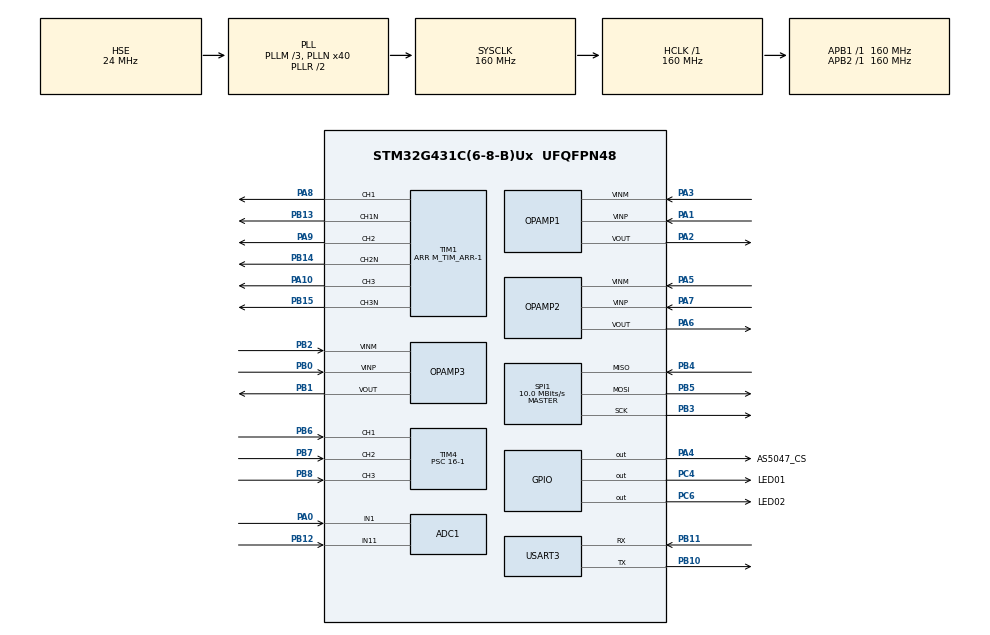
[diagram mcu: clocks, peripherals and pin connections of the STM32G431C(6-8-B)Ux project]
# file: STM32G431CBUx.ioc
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ADC1.Channel-0\#ChannelRegularConversion=ADC_CHANNEL_1
ADC1.ClockPrescaler=ADC_CLOCK_ASYNC_DIV4
ADC1.ContinuousConvMode=ENABLE
ADC1.EnableInjectedConversion=ENABLE
ADC1.ExternalTrigInjecConv=ADC_EXTERNALTRIGINJEC_T1_CC4
ADC1.InjNumberOfConversion=2
ADC1.InjectedChannel-1\#ChannelInjectedConversion=ADC_CHANNEL_3
ADC1.InjectedChannel-2\#ChannelInjectedConversion=ADC_CHANNEL_12
ADC1.InjectedOffsetNumber-1\#ChannelInjectedConversion=ADC_OFFSET_NONE
ADC1.InjectedOffsetNumber-2\#ChannelInjectedConversion=ADC_OFFSET_NONE
ADC1.InjectedRank-1\#ChannelInjectedConversion=1
ADC1.InjectedRank-2\#ChannelInjectedConversion=2
ADC1.InjectedSamplingTime-1\#ChannelInjectedConversion=ADC_SAMPLETIME_2CYCLES_5
ADC1.InjectedSamplingTime-2\#ChannelInjectedConversion=ADC_SAMPLETIME_2CYCLES_5
ADC1.Mode=ADC_DUALMODE_INJECSIMULT
ADC1.NbrOfConversionFlag=1
ADC1.OffsetNumber-0\#ChannelRegularConversion=ADC_OFFSET_NONE
ADC1.Overrun=ADC_OVR_DATA_OVERWRITTEN
ADC1.Rank-0\#ChannelRegularConversion=1
ADC1.SamplingTime-0\#ChannelRegularConversion=ADC_SAMPLETIME_2CYCLES_5
ADC1.master=1
ADC2.Channel-0\#ChannelRegularConversion=ADC_CHANNEL_3
ADC2.ClockPrescaler=ADC_CLOCK_ASYNC_DIV4
ADC2.EnableInjectedConversion=ENABLE
ADC2.InjNumberOfConversion=1
ADC2.InjectedChannel-1\#ChannelInjectedConversion=ADC_CHANNEL_3
ADC2.InjectedOffsetNumber-1\#ChannelInjectedConversion=ADC_OFFSET_NONE
ADC2.InjectedRank-1\#ChannelInjectedConversion=1
ADC2.InjectedSamplingTime-1\#ChannelInjectedConversion=ADC_SAMPLETIME_2CYCLES_5
ADC2.Mode=ADC_DUALMODE_INJECSIMULT
ADC2.NbrOfConversionFlag=1
ADC2.OffsetNumber-0\#ChannelRegularConversion=ADC_OFFSET_NONE
ADC2.Rank-0\#ChannelRegularConversion=1
ADC2.Rank1_Channel=ADC_CHANNEL_3
ADC2.SamplingTime-0\#ChannelRegularConversion=ADC_SAMPLETIME_2CYCLES_5
Dma.Request0=USART3_RX
Dma.USART3_RX.0.Direction=DMA_PERIPH_TO_MEMORY
Dma.USART3_RX.0.EventEnable=DISABLE
Dma.USART3_RX.0.Instance=DMA1_Channel1
Dma.USART3_RX.0.MemDataAlignment=DMA_MDATAALIGN_BYTE
Dma.USART3_RX.0.MemInc=DMA_MINC_ENABLE
Dma.USART3_RX.0.Mode=DMA_NORMAL
Dma.USART3_RX.0.PeriphDataAlignment=DMA_PDATAALIGN_BYTE
Dma.USART3_RX.0.PeriphInc=DMA_PINC_DISABLE
Dma.USART3_RX.0.Polarity=HAL_DMAMUX_REQ_GEN_RISING
Dma.USART3_RX.0.Priority=DMA_PRIORITY_LOW
Dma.USART3_RX.0.RequestNumber=1
Dma.USART3_RX.0.SignalID=NONE
Dma.USART3_RX.0.SyncEnable=DISABLE
Dma.USART3_RX.0.SyncPolarity=HAL_DMAMUX_SYNC_NO_EVENT
Dma.USART3_RX.0.SyncRequestNumber=1
Dma.USART3_RX.0.SyncSignalID=NONE
Mcu.Family=STM32G4
Mcu.Name=STM32G431C(6-8-B)Ux
Mcu.Package=UFQFPN48
Mcu.UserConstants=M_TIM_ARR,8000
NVIC.ADC1_2_IRQn=true\:0\:0\:false\:false\:true\:true\:true\:true
NVIC.PriorityGroup=NVIC_PRIORITYGROUP_4
NVIC.TIM4_IRQn=true\:1\:0\:true\:false\:true\:true\:true\:true
NVIC.USART3_IRQn=true\:3\:0\:true\:false\:true\:false\:true\:true
PA0.Mode=IN1-Single-Ended
PA0.Signal=ADC1_IN1
PA1.Mode=Standalone
PA1.Signal=OPAMP1_VINP
PA10.Signal=S_TIM1_CH3
PA13.Mode=Serial_Wire
PA13.Signal=SYS_JTMS-SWDIO
PA14.Mode=Serial_Wire
PA14.Signal=SYS_JTCK-SWCLK
PA2.Signal=SharedAnalog_PA2
PA3.Mode=Standalone
PA3.Signal=OPAMP1_VINM
PA4.GPIO_Label=AS5047_CS
PA4.Signal=GPIO_Output
PA5.Mode=Standalone
PA5.Signal=OPAMP2_VINM
PA6.Signal=SharedAnalog_PA6
PA7.Mode=Standalone
PA7.Signal=OPAMP2_VINP
PA8.Signal=S_TIM1_CH1
PA9.Signal=S_TIM1_CH2
PB0.Mode=Standalone
PB0.Signal=OPAMP3_VINP
PB1.Signal=SharedAnalog_PB1
PB10.Mode=Asynchronous
PB10.Signal=USART3_TX
PB11.Mode=Asynchronous
PB11.Signal=USART3_RX
PB12.Mode=IN11-Single-Ended
PB12.Signal=ADC1_IN11
PB13.Mode=PWM Generation1 CH1 CH1N
PB13.Signal=TIM1_CH1N
PB14.Mode=PWM Generation2 CH2 CH2N
PB14.Signal=TIM1_CH2N
PB15.Mode=PWM Generation3 CH3 CH3N
PB15.Signal=TIM1_CH3N
PB2.Mode=Standalone
PB2.Signal=OPAMP3_VINM
PB3.Mode=Full_Duplex_Master
PB3.Signal=SPI1_SCK
PB4.Mode=Full_Duplex_Master
PB4.Signal=SPI1_MISO
PB5.Mode=Full_Duplex_Master
PB5.Signal=SPI1_MOSI
PB6.Signal=S_TIM4_CH1
PB7.Signal=S_TIM4_CH2
PB8-BOOT0.Signal=S_TIM4_CH3
PC4.GPIO_Label=LED01
PC4.Signal=GPIO_Output
PC6.GPIO_Label=LED02
PC6.Signal=GPIO_Output
PF0-OSC_IN.Mode=HSE-External-Oscillator
PF0-OSC_IN.Signal=RCC_OSC_IN
PF1-OSC_OUT.Mode=HSE-External-Oscillator
PF1-OSC_OUT.Signal=RCC_OSC_OUT
ProjectManager.HeapSize=0x200
ProjectManager.StackSize=0x400
ProjectManager.TargetToolchain=CMake
RCC.ADC12CLockSelection=RCC_ADC12CLKSOURCE_PLL
RCC.ADC12Freq_Value=160000000
RCC.AHBFreq_Value=160000000
RCC.APB1Freq_Value=160000000
RCC.APB1TimFreq_Value=160000000
RCC.APB2Freq_Value=160000000
RCC.APB2TimFreq_Value=160000000
RCC.CK48CLockSelection=RCC_USBCLKSOURCE_HSI48
RCC.CortexFreq_Value=160000000
RCC.EXTERNAL_CLOCK_VALUE=12288000
RCC.HCLKFreq_Value=160000000
RCC.HSE_VALUE=24000000
RCC.HSI48_VALUE=48000000
RCC.HSI_VALUE=16000000
RCC.LSE_VALUE=32768
RCC.PLLM=RCC_PLLM_DIV3
RCC.PLLN=40
RCC.PLLSourceVirtual=RCC_PLLSOURCE_HSE
RCC.SYSCLKFreq_VALUE=160000000
RCC.SYSCLKSource=RCC_SYSCLKSOURCE_PLLCLK
RCC.USBFreq_Value=48000000
RCC.VCOOutputFreq_Value=320000000
SH.S_TIM1_CH1.0=TIM1_CH1,PWM Generation1 CH1 CH1N
SH.S_TIM1_CH2.0=TIM1_CH2,PWM Generation2 CH2 CH2N
SH.S_TIM1_CH3.0=TIM1_CH3,PWM Generation3 CH3 CH3N
SH.S_TIM4_CH1.0=TIM4_CH1,Xored_Inputs_Hall_Sensor_Interface
SH.S_TIM4_CH2.0=TIM4_CH2,Xored_Inputs_Hall_Sensor_Interface
SH.S_TIM4_CH3.0=TIM4_CH3,Xored_Inputs_Hall_Sensor_Interface
SH.SharedAnalog_PA2.0=OPAMP1_VOUT,Standalone
SH.SharedAnalog_PA2.1=ADC1_IN3,IN3-Single-Ended
SH.SharedAnalog_PA6.0=OPAMP2_VOUT,Standalone
SH.SharedAnalog_PA6.1=ADC2_IN3,IN3-Single-Ended
SH.SharedAnalog_PB1.0=OPAMP3_VOUT,Standalone
SH.SharedAnalog_PB1.1=ADC1_IN12,IN12-Single-Ended
SPI1.BaudRatePrescaler=SPI_BAUDRATEPRESCALER_16
SPI1.CLKPhase=SPI_PHASE_2EDGE
SPI1.CalculateBaudRate=10.0 MBits/s
SPI1.DataSize=SPI_DATASIZE_16BIT
SPI1.Direction=SPI_DIRECTION_2LINES
SPI1.Mode=SPI_MODE_MASTER
SPI1.VirtualType=VM_MASTER
STMicroelectronics.X-CUBE-ALGOBUILD.1.4.0.LibraryCcDSPOoLibraryJjDSPOoLibrary=true
TIM1.Channel-PWM\ Generation1\ CH1\ CH1N=TIM_CHANNEL_1
TIM1.Channel-PWM\ Generation2\ CH2\ CH2N=TIM_CHANNEL_2
TIM1.Channel-PWM\ Generation3\ CH3\ CH3N=TIM_CHANNEL_3
TIM1.Channel-PWM\ Generation4\ No\ Output=TIM_CHANNEL_4
TIM1.ClockDivision=TIM_CLOCKDIVISION_DIV2
TIM1.CounterMode=TIM_COUNTERMODE_CENTERALIGNED3
TIM1.DeadTime=0
TIM1.OCMode_PWM-PWM\ Generation1\ CH1\ CH1N=TIM_OCMODE_PWM2
TIM1.OCMode_PWM-PWM\ Generation2\ CH2\ CH2N=TIM_OCMODE_PWM2
TIM1.OCMode_PWM-PWM\ Generation3\ CH3\ CH3N=TIM_OCMODE_PWM2
TIM1.OCMode_PWM-PWM\ Generation4\ No\ Output=TIM_OCMODE_PWM2
TIM1.PeriodNoDither=M_TIM_ARR-1
TIM1.PulseNoDither_1=M_TIM_ARR/2
TIM1.PulseNoDither_2=M_TIM_ARR/2
TIM1.PulseNoDither_3=M_TIM_ARR/2
TIM1.PulseNoDither_4=M_TIM_ARR-2
TIM1.RepetitionCounter=1
TIM1.TIM_MasterOutputTrigger=TIM_TRGO_OC4REF
TIM4.Commutation_Delay=5
TIM4.IC1Filter=10
TIM4.Prescaler=16-1
USART3.VirtualMode-Asynchronous=VM_ASYNC
VP_RNG_VS_RNG.Mode=RNG_Activate
VP_STMicroelectronics.X-CUBE-ALGOBUILD_VS_DSPOoLibraryJjLibrary_1.4.0_1.4.0.Mode=DSPOoLibraryJjLibrary
VP_SYS_VS_DBSignals.Mode=DisableDeadBatterySignals
VP_TIM1_VS_ClockSourceINT.Mode=Internal
VP_TIM1_VS_no_output4.Mode=PWM Generation4 No Output
VP_TIM4_VS_ClockSourceINT.Mode=Internal
board=custom

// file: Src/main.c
/* USER CODE BEGIN Header */
/**
 ******************************************************************************
 * @file           : main.c
 * @brief          : Main program body
 ******************************************************************************
 * @attention
 *
 * Copyright (c) 2024 STMicroelectronics.
 * All rights reserved.
 *
 * This software is licensed under terms that can be found in the LICENSE file
 * in the root directory of this software component.
 * If no LICENSE file comes with this software, it is provided AS-IS.
 *
 ******************************************************************************
 */
/* USER CODE END Header */
#include "main.h"
#include "adc.h"
#include "dma.h"
#include "opamp.h"
#include "rng.h"
#include "spi.h"
#include "tim.h"
#include "usart.h"
#include "gpio.h"

/* USER CODE BEGIN PTD */
#include "device.h"
#include "stdio.h"
extern struct device motor1;
extern void motor_init(struct device *motor);
extern void motor_task(struct device *motor);

/* USER CODE END PTD */

/* USER CODE BEGIN PV */
void SystemClock_Config(void);
/* USER CODE END PV */

void SystemClock_Config(void);

/* USER CODE BEGIN 0 */

int main(void)
{
	HAL_Init();
	SystemClock_Config();

	/* Initialize all configured peripherals */
	MX_GPIO_Init();
	MX_DMA_Init();

	MX_USART3_UART_Init();
	MX_TIM4_Init();
	MX_ADC1_Init();
	MX_ADC2_Init();
	MX_OPAMP1_Init();
	MX_OPAMP2_Init();
	MX_OPAMP3_Init();
	MX_TIM1_Init();
	MX_RNG_Init();
	MX_SPI1_Init();
	/* USER CODE BEGIN 2 */

	motor_init(&motor1);
	tim_pwm_enable();
	adc_start();
	opamp_start();
	HAL_Delay(1000);
	printf("hello world\r\n");
	/* USER CODE END 2 */

	/* Infinite loop */
	/* USER CODE BEGIN WHILE */
	while (1) {
		motor_task(&motor1);
		// motor_debug_info(&motor1);
		static int cout;
		if (cout++ > 1000) {
			cout = 0;
			// printf("hell\r\n");
		}
		HAL_Delay(1);

		/* USER CODE END WHILE */

		/* USER CODE BEGIN 3 */
	}
	/* USER CODE END 3 */
}

/* USER CODE END 0 */

void SystemClock_Config(void)
{
  RCC_OscInitTypeDef RCC_OscInitStruct = {0};
  RCC_ClkInitTypeDef RCC_ClkInitStruct = {0};

  /** Configure the main internal regulator output voltage
  */
  HAL_PWREx_ControlVoltageScaling(PWR_REGULATOR_VOLTAGE_SCALE1_BOOST);

  /** Initializes the RCC Oscillators according to the specified parameters
  * in the RCC_OscInitTypeDef structure.
  */
  RCC_OscInitStruct.OscillatorType = RCC_OSCILLATORTYPE_HSI48|RCC_OSCILLATORTYPE_HSE;
  RCC_OscInitStruct.HSEState = RCC_HSE_ON;
  RCC_OscInitStruct.HSI48State = RCC_HSI48_ON;
  RCC_OscInitStruct.PLL.PLLState = RCC_PLL_ON;
  RCC_OscInitStruct.PLL.PLLSource = RCC_PLLSOURCE_HSE;
  RCC_OscInitStruct.PLL.PLLM = RCC_PLLM_DIV3;
  RCC_OscInitStruct.PLL.PLLN = 40;
  RCC_OscInitStruct.PLL.PLLP = RCC_PLLP_DIV2;
  RCC_OscInitStruct.PLL.PLLQ = RCC_PLLQ_DIV2;
  RCC_OscInitStruct.PLL.PLLR = RCC_PLLR_DIV2;
  if (HAL_RCC_OscConfig(&RCC_OscInitStruct) != HAL_OK)
  {
    Error_Handler();
  }

  /** Initializes the CPU, AHB and APB buses clocks
  */
  RCC_ClkInitStruct.ClockType = RCC_CLOCKTYPE_HCLK|RCC_CLOCKTYPE_SYSCLK
                              |RCC_CLOCKTYPE_PCLK1|RCC_CLOCKTYPE_PCLK2;
  RCC_ClkInitStruct.SYSCLKSource = RCC_SYSCLKSOURCE_PLLCLK;
  RCC_ClkInitStruct.AHBCLKDivider = RCC_SYSCLK_DIV1;
  RCC_ClkInitStruct.APB1CLKDivider = RCC_HCLK_DIV1;
  RCC_ClkInitStruct.APB2CLKDivider = RCC_HCLK_DIV1;

  if (HAL_RCC_ClockConfig(&RCC_ClkInitStruct, FLASH_LATENCY_4) != HAL_OK)
  {
    Error_Handler();
  }
}

void Error_Handler(void)
{
	__disable_irq();
	while (1) {
	}
}

#ifdef  USE_FULL_ASSERT
/**
  * @brief  Reports the name of the source file and the source line number
  *         where the assert_param error has occurred.
  * @param  file: pointer to the source file name
  * @param  line: assert_param error line source number
  * @retval None
  */
void assert_failed(uint8_t *file, uint32_t line)
{
  /* USER CODE BEGIN 6 */
	/* User can add his own implementation to report the file name and line
	   number, ex: printf("Wrong parameters value: file %s on line %d\r\n", file,
	   line) */
  /* USER CODE END 6 */
}
#endif /* USE_FULL_ASSERT */
